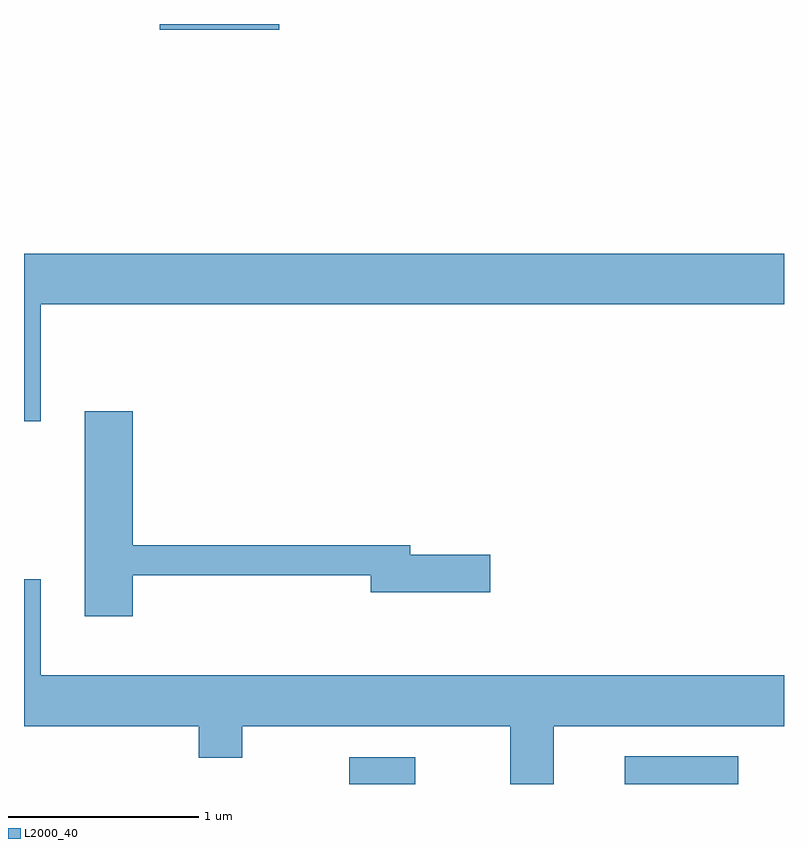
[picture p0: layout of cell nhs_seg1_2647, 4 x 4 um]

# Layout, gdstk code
import gdstk
lib = gdstk.Library(unit=1e-6, precision=1e-09)
def R(c, l, rs):  # rectangles x0, y0, x1, y1
    for r in rs: c.add(gdstk.rectangle(r[:2], r[2:], *l))
def P(c, l, *ps):  # polygons
    for p in ps: c.add(gdstk.Polygon(p, *l))
L2000_40 = (2000, 40)

nhs_seg1_2647 = lib.new_cell('nhs_seg1_2647')
R(nhs_seg1_2647, L2000_40, [(267.323,903.712,267.669,903.854), (268.773,903.712,269.369,903.859), (266.326,907.681,266.954,907.712)])
P(nhs_seg1_2647, L2000_40, [(265.699,906.236),(269.611,906.236),(269.611,906.504),(265.611,906.504),(265.611,905.621),(265.699,905.621)],
  [(266.184,904.811),(267.436,904.811),(267.436,904.721),(268.064,904.721),(268.064,904.919),(267.644,904.919),(267.644,904.969),(266.184,904.969),(266.184,905.674),(265.931,905.674),(265.931,904.596),(266.184,904.596)],
  [(268.399,904.016),(269.611,904.016),(269.611,904.284),(265.699,904.284),(265.699,904.789),(265.611,904.789),(265.611,904.016),(266.531,904.016),(266.531,903.851),(266.759,903.851),(266.759,904.016),(268.171,904.016),(268.171,903.712),(268.399,903.712)])

lib.write_gds('nhs_seg1_2647.gds')
